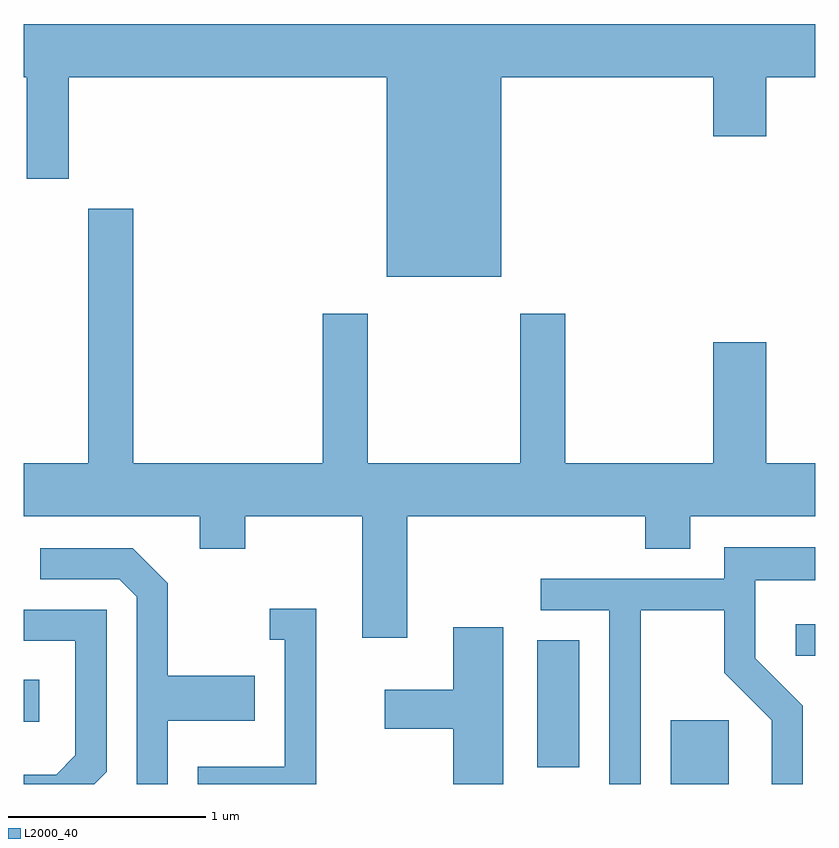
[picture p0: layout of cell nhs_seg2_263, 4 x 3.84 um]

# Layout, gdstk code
import gdstk
lib = gdstk.Library(unit=1e-6, precision=1e-09)
def R(c, l, rs):  # rectangles x0, y0, x1, y1
    for r in rs: c.add(gdstk.rectangle(r[:2], r[2:], *l))
def P(c, l, *ps):  # polygons
    for p in ps: c.add(gdstk.Polygon(p, *l))
L2000_40 = (2000, 40)

nhs_seg2_263 = lib.new_cell('nhs_seg2_263')
R(nhs_seg2_263, L2000_40, [(194.881,1095.802,195.174,1096.124), (194.206,1095.886,194.419,1096.529), (191.611,1096.116,191.689,1096.329), (195.513,1096.451,195.611,1096.609)])
P(nhs_seg2_263, L2000_40, [(194.024,1099.376),(195.096,1099.376),(195.096,1099.076),(195.364,1099.076),(195.364,1099.376),(195.611,1099.376),(195.611,1099.644),(191.611,1099.644),(191.611,1099.376),(191.626,1099.376),(191.626,1098.861),(191.839,1098.861),(191.839,1099.376),(193.446,1099.376),(193.446,1098.366),(194.024,1098.366)],
  [(193.549,1097.156),(194.751,1097.156),(194.751,1096.991),(194.979,1096.991),(194.979,1097.156),(195.611,1097.156),(195.611,1097.424),(195.364,1097.424),(195.364,1098.034),(195.096,1098.034),(195.096,1097.424),(194.349,1097.424),(194.349,1098.179),(194.121,1098.179),(194.121,1097.424),(193.349,1097.424),(193.349,1098.179),(193.121,1098.179),(193.121,1097.424),(192.164,1097.424),(192.164,1098.709),(191.936,1098.709),(191.936,1097.424),(191.611,1097.424),(191.611,1097.156),(192.501,1097.156),(192.501,1096.991),(192.729,1096.991),(192.729,1097.156),(193.321,1097.156),(193.321,1096.541),(193.549,1096.541)],
  [(194.729,1096.681),(195.151,1096.681),(195.151,1096.364),(195.391,1096.124),(195.391,1095.802),(195.549,1095.802),(195.549,1096.197),(195.309,1096.437),(195.309,1096.831),(195.611,1096.831),(195.611,1096.999),(195.151,1096.999),(195.151,1096.839),(194.223,1096.839),(194.223,1096.681),(194.571,1096.681),(194.571,1095.802),(194.729,1095.802)],
  [(192.339,1096.121),(192.779,1096.121),(192.779,1096.349),(192.339,1096.349),(192.339,1096.817),(192.162,1096.994),(191.693,1096.994),(191.693,1096.836),(192.094,1096.836),(192.181,1096.749),(192.181,1095.802),(192.339,1095.802)],
  [(193.089,1096.689),(192.853,1096.689),(192.853,1096.531),(192.931,1096.531),(192.931,1095.889),(192.491,1095.889),(192.491,1095.802),(193.089,1095.802)],
  [(192.029,1095.864),(192.029,1096.684),(191.611,1096.684),(191.611,1096.526),(191.871,1096.526),(191.871,1095.947),(191.774,1095.849),(191.611,1095.849),(191.611,1095.802),(191.967,1095.802)],
  [(194.034,1096.594),(193.781,1096.594),(193.781,1096.279),(193.436,1096.279),(193.436,1096.081),(193.781,1096.081),(193.781,1095.802),(194.034,1095.802)])

lib.write_gds('nhs_seg2_263.gds')
